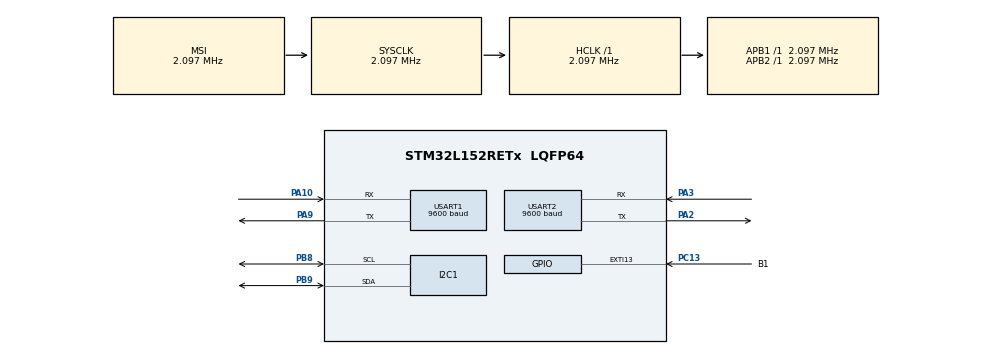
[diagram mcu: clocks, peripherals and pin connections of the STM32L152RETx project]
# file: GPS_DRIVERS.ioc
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Mcu.Family=STM32L1
Mcu.Name=STM32L152RETx
Mcu.Package=LQFP64
NVIC.EXTI15_10_IRQn=true\:0\:0\:false\:false\:true\:true\:true\:true
NVIC.PriorityGroup=NVIC_PRIORITYGROUP_4
PA10.Mode=Asynchronous
PA10.Signal=USART1_RX
PA13.Mode=Trace_Asynchronous_SW
PA13.Signal=SYS_JTMS-SWDIO
PA14.Mode=Trace_Asynchronous_SW
PA14.Signal=SYS_JTCK-SWCLK
PA2.Mode=Asynchronous
PA2.Signal=USART2_TX
PA3.Mode=Asynchronous
PA3.Signal=USART2_RX
PA9.Mode=Asynchronous
PA9.Signal=USART1_TX
PB3.Mode=Trace_Asynchronous_SW
PB3.Signal=SYS_JTDO-TRACESWO
PB8.Mode=I2C
PB8.Signal=I2C1_SCL
PB9.Mode=I2C
PB9.Signal=I2C1_SDA
PC13-WKUP2.GPIO_Label=B1
PC13-WKUP2.GPIO_ModeDefaultEXTI=GPIO_MODE_IT_FALLING
PC13-WKUP2.Signal=GPXTI13
ProjectManager.HeapSize=0x200
ProjectManager.StackSize=0x400
ProjectManager.TargetToolchain=STM32CubeIDE
RCC.AHBFreq_Value=2097000
RCC.APB1Freq_Value=2097000
RCC.APB2Freq_Value=2097000
RCC.HSE_VALUE=24000000
RCC.HSI_VALUE=16000000
RCC.LSE_VALUE=32768
RCC.MSI_VALUE=2097000
RCC.SYSCLKFreq_VALUE=2097000
RCC.VCOOutputFreq_Value=48000000
USART1.BaudRate=9600
USART1.Mode=MODE_TX
USART1.VirtualMode=VM_ASYNC
USART2.BaudRate=9600
USART2.VirtualMode=VM_ASYNC
board=custom

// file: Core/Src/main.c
/* USER CODE BEGIN Header */
/**
  ******************************************************************************
  * @file           : main.c
  * @brief          : Main program body
  ******************************************************************************
  * @attention
  *
  * Copyright (c) 2023 STMicroelectronics.
  * All rights reserved.
  *
  * This software is licensed under terms that can be found in the LICENSE file
  * in the root directory of this software component.
  * If no LICENSE file comes with this software, it is provided AS-IS.
  *
  ******************************************************************************
  */
/* USER CODE END Header */
#include "main.h"

/* USER CODE BEGIN Includes */
#include <stdio.h>
#include <string.h>
#include "M8N.h"
/* USER CODE END Includes */

/* USER CODE BEGIN PM */
#define BUFFER_SIZE 36
/* USER CODE END PM */

I2C_HandleTypeDef hi2c1;

UART_HandleTypeDef huart1;
UART_HandleTypeDef huart2;

/* USER CODE BEGIN PV */
uint8_t GPS_FLAG = 0;	// flag for successful i2c connection
//static uint8_t GPS_DATA = 0;	// flag for complete UBX message received
/* USER CODE END PV */

void SystemClock_Config(void);
static void MX_GPIO_Init(void);
static void MX_I2C1_Init(void);
static void MX_USART2_UART_Init(void);
static void MX_USART1_UART_Init(void);
/* USER CODE BEGIN PFP */
#ifdef __GNUC__
#define PUTCHAR_PROTOTYPE int __io_putchar(int ch)
#else
#define PUTCHAR_PROTOTYPE int fputc(int ch, FILE *f)
#endif

PUTCHAR_PROTOTYPE
{
  HAL_UART_Transmit(&huart1, (uint8_t *)&ch, 1, HAL_MAX_DELAY);
  return ch;
}
/* USER CODE END PFP */

int main(void)
{
  /* USER CODE BEGIN 1 */
  HAL_StatusTypeDef hal;    // HAL status return
  uint8_t GPS_BUFFER[36];		// buffer for full UBX(GPS) message
  NavData data;             // Struct for parsed data received from gps
  /* USER CODE END 1 */

  /* MCU Configuration--------------------------------------------------------*/

  /* Reset of all peripherals, Initializes the Flash interface and the Systick. */
  HAL_Init();

  /* Configure the system clock */
  SystemClock_Config();

  /* Initialize all configured peripherals */
  MX_GPIO_Init();
  MX_I2C1_Init();
  MX_USART2_UART_Init();
  MX_USART1_UART_Init(); // Using this for UART communication
  /* USER CODE BEGIN 2 */

  // Setup GPS receiver with desired configurations
  printf("Starting configurations\r\n");
  GPS_Initialization();
  printf("Configurations complete\r\n");
  /* USER CODE END 2 */

  /* Infinite loop */
  /* USER CODE BEGIN WHILE */
  while (1)
  {
	printf("Working!\r\n");
    // set first element of buffer as the address of data stream register
	// If GPS_BUFFER == 0xFF, then it means that there is no data for the GPS to send
	GPS_BUFFER[0] = GPS_DATA_REGISTER;

	// Transmit to GPS, let it know I want data
	//hal = HAL_I2C_Master_Transmit(&hi2c1, GPS_DEVICE_ADDRESS, GPS_BUFFER, BUFFER_SIZE, HAL_MAX_DELAY);
	//if ( hal != HAL_OK ) {
	//	printf("data transmit went wrong\r\n");
	//}
	UBX_Transmit(GPS_BUFFER, BUFFER_SIZE);

	// if HAL_OK then receive data
	// set bit zero on device address for read access
	// | 0x01
	//hal = HAL_I2C_Master_Receive(&hi2c1, GPS_DEVICE_ADDRESS, GPS_BUFFER, BUFFER_SIZE, HAL_MAX_DELAY);
	//if ( hal != HAL_OK ) {
	//	printf("data receive went wrong\r\n");
	//}
	UBX_Receive(GPS_BUFFER, BUFFER_SIZE);
	printf("GPS_BUFFER (Length: %):\n", BUFFER_SIZE);
	    for (size_t i = 0; i < BUFFER_SIZE; i++) {
	        printf("%02X ", GPS_BUFFER[i]);
	        if ((i + 1) % 16 == 0) { // Break line every 16 bytes for better readability
	            printf("\n");
	        }
	    }
	    printf("\n");
	// buffer[0] == 0xff when there is no data
	if (GPS_BUFFER[0] != 0xff) {

	  // call Checksum function to retrieve computed checksum of the buffer's payload
	  uint16_t computedChecksum = UBX_M8N_CHECKSUM(GPS_BUFFER, BUFFER_SIZE);

	  // expected checksum value is the last 2 bytes of the buffer
	  uint16_t expectedChecksum = (GPS_BUFFER[BUFFER_SIZE - 2]<<8) | GPS_BUFFER[BUFFER_SIZE - 1];

	  // if computed checksum = expected checksum, then data is valid
	  if (computedChecksum == expectedChecksum) {
		UBX_M8N_NAV_POSLLH_Parsing(GPS_BUFFER, &data);					      // parses data
		HAL_UART_Transmit(&huart1, &data, BUFFER_SIZE, HAL_MAX_DELAY);    // transmit data to pc through UART (for testing)
	  } else {
		// The data received from GPS is invalid
		printf("The checksum is invalid!\r\n");
		printf("[ i ] The Computer Checksum: 0x%02X, Expected Checksum: 0x%02X\r\n", computedChecksum, expectedChecksum);

		UBX_M8N_NAV_POSLLH_Parsing(GPS_BUFFER, &data);	// parses data
		HAL_UART_Transmit(&huart1, GPS_BUFFER, BUFFER_SIZE, HAL_MAX_DELAY);
		printf("Longitude: %u (in 1e-7 degrees)\r\n", data.lon);
		printf("\r\n");
	  }
	} else {
	  // The GPS does not have data to send over
	  printf("There is no data!\r\n");
	}

	HAL_Delay(500);
//	  }
    /* USER CODE END WHILE */

  }
}

void SystemClock_Config(void)
{
  RCC_OscInitTypeDef RCC_OscInitStruct = {0};
  RCC_ClkInitTypeDef RCC_ClkInitStruct = {0};

  /** Configure the main internal regulator output voltage
  */
  __HAL_PWR_VOLTAGESCALING_CONFIG(PWR_REGULATOR_VOLTAGE_SCALE1);

  /** Initializes the RCC Oscillators according to the specified parameters
  * in the RCC_OscInitTypeDef structure.
  */
  RCC_OscInitStruct.OscillatorType = RCC_OSCILLATORTYPE_MSI;
  RCC_OscInitStruct.MSIState = RCC_MSI_ON;
  RCC_OscInitStruct.MSICalibrationValue = 0;
  RCC_OscInitStruct.MSIClockRange = RCC_MSIRANGE_5;
  RCC_OscInitStruct.PLL.PLLState = RCC_PLL_NONE;
  if (HAL_RCC_OscConfig(&RCC_OscInitStruct) != HAL_OK)
  {
    Error_Handler();
  }

  /** Initializes the CPU, AHB and APB buses clocks
  */
  RCC_ClkInitStruct.ClockType = RCC_CLOCKTYPE_HCLK|RCC_CLOCKTYPE_SYSCLK
                              |RCC_CLOCKTYPE_PCLK1|RCC_CLOCKTYPE_PCLK2;
  RCC_ClkInitStruct.SYSCLKSource = RCC_SYSCLKSOURCE_MSI;
  RCC_ClkInitStruct.AHBCLKDivider = RCC_SYSCLK_DIV1;
  RCC_ClkInitStruct.APB1CLKDivider = RCC_HCLK_DIV1;
  RCC_ClkInitStruct.APB2CLKDivider = RCC_HCLK_DIV1;

  if (HAL_RCC_ClockConfig(&RCC_ClkInitStruct, FLASH_LATENCY_0) != HAL_OK)
  {
    Error_Handler();
  }
}

static void MX_I2C1_Init(void)
{

  hi2c1.Instance = I2C1;
  hi2c1.Init.ClockSpeed = 100000;
  hi2c1.Init.DutyCycle = I2C_DUTYCYCLE_2;
  hi2c1.Init.OwnAddress1 = 0;
  hi2c1.Init.AddressingMode = I2C_ADDRESSINGMODE_7BIT;
  hi2c1.Init.DualAddressMode = I2C_DUALADDRESS_DISABLE;
  hi2c1.Init.OwnAddress2 = 0;
  hi2c1.Init.GeneralCallMode = I2C_GENERALCALL_DISABLE;
  hi2c1.Init.NoStretchMode = I2C_NOSTRETCH_DISABLE;
  if (HAL_I2C_Init(&hi2c1) != HAL_OK)
  {
    Error_Handler();
  }

}

static void MX_USART1_UART_Init(void)
{

  huart1.Instance = USART1;
  huart1.Init.BaudRate = 9600;
  huart1.Init.WordLength = UART_WORDLENGTH_8B;
  huart1.Init.StopBits = UART_STOPBITS_1;
  huart1.Init.Parity = UART_PARITY_NONE;
  huart1.Init.Mode = UART_MODE_TX;
  huart1.Init.HwFlowCtl = UART_HWCONTROL_NONE;
  huart1.Init.OverSampling = UART_OVERSAMPLING_16;
  if (HAL_UART_Init(&huart1) != HAL_OK)
  {
    Error_Handler();
  }

}

static void MX_USART2_UART_Init(void)
{

  huart2.Instance = USART2;
  huart2.Init.BaudRate = 9600;
  huart2.Init.WordLength = UART_WORDLENGTH_8B;
  huart2.Init.StopBits = UART_STOPBITS_1;
  huart2.Init.Parity = UART_PARITY_NONE;
  huart2.Init.Mode = UART_MODE_TX_RX;
  huart2.Init.HwFlowCtl = UART_HWCONTROL_NONE;
  huart2.Init.OverSampling = UART_OVERSAMPLING_16;
  if (HAL_UART_Init(&huart2) != HAL_OK)
  {
    Error_Handler();
  }

}

static void MX_GPIO_Init(void)
{
  GPIO_InitTypeDef GPIO_InitStruct = {0};

  /* GPIO Ports Clock Enable */
  __HAL_RCC_GPIOC_CLK_ENABLE();
  __HAL_RCC_GPIOA_CLK_ENABLE();
  __HAL_RCC_GPIOB_CLK_ENABLE();

  /*Configure GPIO pin : B1_Pin */
  GPIO_InitStruct.Pin = B1_Pin;
  GPIO_InitStruct.Mode = GPIO_MODE_IT_FALLING;
  GPIO_InitStruct.Pull = GPIO_NOPULL;
  HAL_GPIO_Init(B1_GPIO_Port, &GPIO_InitStruct);

  /* EXTI interrupt init*/
  HAL_NVIC_SetPriority(EXTI15_10_IRQn, 0, 0);
  HAL_NVIC_EnableIRQ(EXTI15_10_IRQn);

}

/* USER CODE BEGIN 4 */
void HAL_GPIO_EXTI_Callback(uint16_t GPIO_Pin)
{
  if(GPIO_Pin == B1_Pin) {
	  GPS_FLAG = 1;
  } else {
      __NOP();
  }
}
/* USER CODE END 4 */

void Error_Handler(void)
{
  __disable_irq();
  while (1)
  {
  }
}
